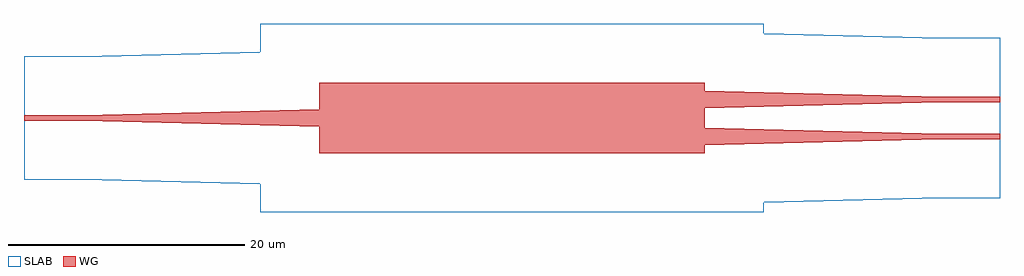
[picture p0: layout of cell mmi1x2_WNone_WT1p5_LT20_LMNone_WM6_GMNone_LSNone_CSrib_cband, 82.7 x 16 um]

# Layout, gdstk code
import gdstk
lib = gdstk.Library(unit=1e-6, precision=1e-09)
def R(c, l, rs):  # rectangles x0, y0, x1, y1
    for r in rs: c.add(gdstk.rectangle(r[:2], r[2:], *l))
def P(c, l, *ps):  # polygons
    for p in ps: c.add(gdstk.Polygon(p, *l))
WG = (3, 0)
SLAB = (5, 0)

mmi1x2_wnone_wt1p5_lt20_ = lib.new_cell('mmi1x2_WNone_WT1p5_LT20_LMNone_WM6_GMNone_LSNone_CSrib_cband')
R(mmi1x2_wnone_wt1p5_lt20_, WG, [(0,-3,32.7,3), (52.7,-1.795,57.7,-1.345), (-25,-0.225,-20,0.225), (52.7,1.345,57.7,1.795)])
P(mmi1x2_wnone_wt1p5_lt20_, WG, [(0,-0.75),(-20,-0.225),(-20,0.225),(0,0.75)],
  [(32.7,0.82),(32.7,2.32),(52.7,1.795),(52.7,1.345)],
  [(32.7,-2.32),(32.7,-0.82),(52.7,-1.345),(52.7,-1.795)])
P(mmi1x2_wnone_wt1p5_lt20_, SLAB, [(-5,-8),(-5,-5.62),(-20.048,-5.225),(-25,-5.225),(-25,5.225),(-20.048,5.225),(-5,5.62),(-5,8),(37.7,8),(37.7,7.19),(52.748,6.795),(57.7,6.795),(57.7,-6.795),(52.748,-6.795),(37.7,-7.19),(37.7,-8)])

lib.write_gds('mmi1x2_WNone_WT1p5_LT20_LMNone_WM6_GMNone_LSNone_CSrib_cband.gds')
